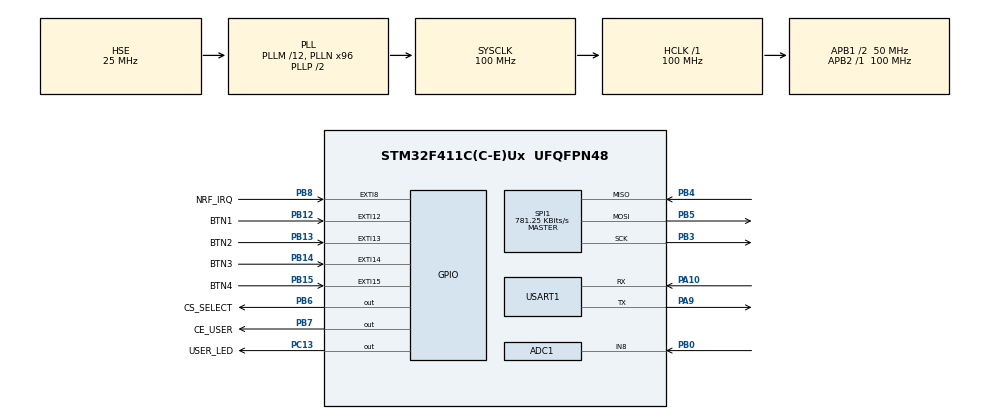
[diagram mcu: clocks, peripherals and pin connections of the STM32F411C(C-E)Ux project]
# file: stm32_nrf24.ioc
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ADC1.Channel-11\#ChannelRegularConversion=ADC_CHANNEL_8
ADC1.Channel-12\#ChannelRegularConversion=ADC_CHANNEL_TEMPSENSOR
ADC1.ContinuousConvMode=ENABLE
ADC1.DMAContinuousRequests=ENABLE
ADC1.NbrOfConversion=2
ADC1.NbrOfConversionFlag=1
ADC1.Rank-11\#ChannelRegularConversion=1
ADC1.Rank-12\#ChannelRegularConversion=2
ADC1.SamplingTime-11\#ChannelRegularConversion=ADC_SAMPLETIME_15CYCLES
ADC1.SamplingTime-12\#ChannelRegularConversion=ADC_SAMPLETIME_144CYCLES
ADC1.ScanConvMode=ENABLE
ADC1.master=1
Dma.ADC1.0.Direction=DMA_PERIPH_TO_MEMORY
Dma.ADC1.0.FIFOMode=DMA_FIFOMODE_DISABLE
Dma.ADC1.0.Instance=DMA2_Stream0
Dma.ADC1.0.MemDataAlignment=DMA_MDATAALIGN_HALFWORD
Dma.ADC1.0.MemInc=DMA_MINC_ENABLE
Dma.ADC1.0.Mode=DMA_CIRCULAR
Dma.ADC1.0.PeriphDataAlignment=DMA_PDATAALIGN_HALFWORD
Dma.ADC1.0.PeriphInc=DMA_PINC_DISABLE
Dma.ADC1.0.Priority=DMA_PRIORITY_LOW
Dma.Request0=ADC1
FREERTOS.Mutexes01=dataMutex,Dynamic,NULL,Available
FREERTOS.Queues01=change_permit,1,uint32_t,0,Dynamic,NULL,NULL
FREERTOS.Tasks01=defaultTask,24,128,StartDefaultTask,Default,NULL,Dynamic,NULL,NULL;SendDummy,22,128,send_dummy,Default,NULL,Dynamic,NULL,NULL;nrf24_receive,55,128,receive_poll,Default,NULL,Dynamic,NULL,NULL;pingSend,36,128,ping_send,Default,NULL,Dynamic,NULL,NULL;TemperatureLoad,8,128,fetch_temp,Default,NULL,Dynamic,NULL,NULL;TransmitCommand,50,128,start_transmit_cmd,Default,NULL,Dynamic,NULL,NULL;ErrorPollTask,10,128,start_error_poll,Default,NULL,Dynamic,NULL,NULL
FREERTOS.configENABLE_FPU=1
FREERTOS.configUSE_NEWLIB_REENTRANT=1
Mcu.Family=STM32F4
Mcu.Name=STM32F411C(C-E)Ux
Mcu.Package=UFQFPN48
NVIC.DMA2_Stream0_IRQn=true\:5\:0\:false\:false\:true\:true\:false\:true\:true
NVIC.EXTI15_10_IRQn=true\:5\:0\:false\:false\:true\:true\:true\:true\:true
NVIC.EXTI9_5_IRQn=true\:5\:0\:false\:false\:true\:true\:true\:true\:true
NVIC.PriorityGroup=NVIC_PRIORITYGROUP_4
NVIC.SPI1_IRQn=true\:5\:0\:false\:false\:true\:true\:true\:true\:true
NVIC.TIM2_IRQn=true\:15\:0\:false\:false\:true\:false\:false\:true\:true
NVIC.TimeBase=TIM2_IRQn
NVIC.TimeBaseIP=TIM2
NVIC.USART1_IRQn=true\:5\:0\:false\:false\:true\:true\:true\:true\:true
PA10.Mode=Asynchronous
PA10.Signal=USART1_RX
PA13.Mode=Serial_Wire
PA13.Signal=SYS_JTMS-SWDIO
PA14.Mode=Serial_Wire
PA14.Signal=SYS_JTCK-SWCLK
PA9.Mode=Asynchronous
PA9.Signal=USART1_TX
PB0.Signal=ADCx_IN8
PB12.GPIO_Label=BTN1
PB12.GPIO_ModeDefaultEXTI=GPIO_MODE_IT_FALLING
PB12.GPIO_PuPd=GPIO_PULLUP
PB12.Signal=GPXTI12
PB13.GPIO_Label=BTN2
PB13.GPIO_ModeDefaultEXTI=GPIO_MODE_IT_FALLING
PB13.GPIO_PuPd=GPIO_PULLUP
PB13.Signal=GPXTI13
PB14.GPIO_Label=BTN3
PB14.GPIO_ModeDefaultEXTI=GPIO_MODE_IT_FALLING
PB14.GPIO_PuPd=GPIO_PULLUP
PB14.Signal=GPXTI14
PB15.GPIO_Label=BTN4
PB15.GPIO_ModeDefaultEXTI=GPIO_MODE_IT_FALLING
PB15.GPIO_PuPd=GPIO_PULLUP
PB15.Signal=GPXTI15
PB3.Mode=Full_Duplex_Master
PB3.Signal=SPI1_SCK
PB4.Mode=Full_Duplex_Master
PB4.Signal=SPI1_MISO
PB5.Mode=Full_Duplex_Master
PB5.Signal=SPI1_MOSI
PB6.GPIO_Label=CS_SELECT
PB6.Signal=GPIO_Output
PB7.GPIO_Label=CE_USER
PB7.Signal=GPIO_Output
PB8.GPIO_Label=NRF_IRQ
PB8.Signal=GPXTI8
PC13-ANTI_TAMP.GPIO_Label=USER_LED
PC13-ANTI_TAMP.Signal=GPIO_Output
PH0\ -\ OSC_IN.Mode=HSE-External-Oscillator
PH0\ -\ OSC_IN.Signal=RCC_OSC_IN
PH1\ -\ OSC_OUT.Mode=HSE-External-Oscillator
PH1\ -\ OSC_OUT.Signal=RCC_OSC_OUT
ProjectManager.HeapSize=0x200
ProjectManager.StackSize=0x400
ProjectManager.TargetToolchain=STM32CubeIDE
RCC.48MHZClocksFreq_Value=50000000
RCC.AHBFreq_Value=100000000
RCC.APB1CLKDivider=RCC_HCLK_DIV2
RCC.APB1Freq_Value=50000000
RCC.APB1TimFreq_Value=100000000
RCC.APB2Freq_Value=100000000
RCC.APB2TimFreq_Value=100000000
RCC.CortexFreq_Value=100000000
RCC.HCLKFreq_Value=100000000
RCC.HSE_VALUE=25000000
RCC.HSI_VALUE=16000000
RCC.LSE_VALUE=32768
RCC.PLLM=12
RCC.PLLN=96
RCC.PLLSourceVirtual=RCC_PLLSOURCE_HSE
RCC.SYSCLKFreq_VALUE=100000000
RCC.SYSCLKSource=RCC_SYSCLKSOURCE_PLLCLK
RCC.VCOOutputFreq_Value=200000000
SH.ADCx_IN8.0=ADC1_IN8,IN8
SPI1.BaudRatePrescaler=SPI_BAUDRATEPRESCALER_128
SPI1.CalculateBaudRate=781.25 KBits/s
SPI1.Direction=SPI_DIRECTION_2LINES
SPI1.Mode=SPI_MODE_MASTER
SPI1.VirtualType=VM_MASTER
USART1.VirtualMode=VM_ASYNC
VP_ADC1_TempSens_Input.Mode=IN-TempSens
VP_FREERTOS_VS_CMSIS_V2.Mode=CMSIS_V2
VP_SYS_VS_tim2.Mode=TIM2
board=custom

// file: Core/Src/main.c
/* USER CODE BEGIN Header */
/**
  ******************************************************************************
  * @file           : main.c
  * @brief          : Main program body
  ******************************************************************************
  * @attention
  *
  * Copyright (c) 2025 STMicroelectronics.
  * All rights reserved.
  *
  * This software is licensed under terms that can be found in the LICENSE file
  * in the root directory of this software component.
  * If no LICENSE file comes with this software, it is provided AS-IS.
  *
  ******************************************************************************
  */
/* USER CODE END Header */
#include "main.h"
#include "cmsis_os.h"

/* USER CODE BEGIN Includes */
#include <string.h>
#include "NRF24.h"

#include "util/util.h"

#include "stdio.h"
#include "string.h"
#include "transmitter.h"
#include "ota.h"
#include "logger.h"
#include "adc.h"

#include "tasks/blinkled.h"
#include "tasks/txdummy.h"
#include "tasks/receive_poll.h"
#include "tasks/ping.h"
#include "tasks/tx_command.h"

#include "error/error.h"

#include "stddef.h"
/* USER CODE END Includes */

/* USER CODE BEGIN PD */

#define BTN1_PRESS		0x00
#define BTN2_PRESS		0x01
#define BTN3_PRESS		0x02
#define BTN4_PRESS		0x04

#define KERNEL_HAL		1
#define KERNEL_RTOS		2

#define BUTTON_DELAY_BOUND	300

#define CHANNEL 0x45
/* USER CODE END PD */

/* USER CODE BEGIN PM */
uint8_t KERNEL_MODE = KERNEL_HAL;
volatile uint8_t BUTTON_STATUS = 0;

uint8_t address[5] = { 0, 0, 0, 0, 1 };

volatile ADCValues_t adc;
/* USER CODE END PM */

ADC_HandleTypeDef hadc1;
DMA_HandleTypeDef hdma_adc1;

SPI_HandleTypeDef hspi1;

UART_HandleTypeDef huart1;

/* Definitions for defaultTask */
osThreadId_t defaultTaskHandle;
const osThreadAttr_t defaultTask_attributes = {
  .name = "defaultTask",
  .stack_size = 128 * 4,
  .priority = (osPriority_t) osPriorityNormal,
};
/* Definitions for SendDummy */
osThreadId_t SendDummyHandle;
const osThreadAttr_t SendDummy_attributes = {
  .name = "SendDummy",
  .stack_size = 128 * 4,
  .priority = (osPriority_t) osPriorityBelowNormal6,
};
/* Definitions for nrf24_receive */
osThreadId_t nrf24_receiveHandle;
const osThreadAttr_t nrf24_receive_attributes = {
  .name = "nrf24_receive",
  .stack_size = 128 * 4,
  .priority = (osPriority_t) osPriorityRealtime7,
};
/* Definitions for pingSend */
osThreadId_t pingSendHandle;
const osThreadAttr_t pingSend_attributes = {
  .name = "pingSend",
  .stack_size = 128 * 4,
  .priority = (osPriority_t) osPriorityAboveNormal4,
};
/* Definitions for TemperatureLoad */
osThreadId_t TemperatureLoadHandle;
const osThreadAttr_t TemperatureLoad_attributes = {
  .name = "TemperatureLoad",
  .stack_size = 128 * 4,
  .priority = (osPriority_t) osPriorityLow,
};
/* Definitions for TransmitCommand */
osThreadId_t TransmitCommandHandle;
const osThreadAttr_t TransmitCommand_attributes = {
  .name = "TransmitCommand",
  .stack_size = 128 * 4,
  .priority = (osPriority_t) osPriorityRealtime2,
};
/* Definitions for ErrorPollTask */
osThreadId_t ErrorPollTaskHandle;
const osThreadAttr_t ErrorPollTask_attributes = {
  .name = "ErrorPollTask",
  .stack_size = 128 * 4,
  .priority = (osPriority_t) osPriorityLow2,
};
/* Definitions for change_permit */
osMessageQueueId_t change_permitHandle;
const osMessageQueueAttr_t change_permit_attributes = {
  .name = "change_permit"
};
/* Definitions for dataMutex */
osMutexId_t dataMutexHandle;
const osMutexAttr_t dataMutex_attributes = {
  .name = "dataMutex"
};
/* USER CODE BEGIN PV */
extern uint32_t _ota_begin, _ota_end, _ota_loadaddr;
Dummy_t rxdata;
/* USER CODE END PV */

void SystemClock_Config(void);
static void MX_GPIO_Init(void);
static void MX_DMA_Init(void);
static void MX_SPI1_Init(void);
static void MX_USART1_UART_Init(void);
static void MX_ADC1_Init(void);
void StartDefaultTask(void *argument);
void send_dummy(void *argument);
void receive_poll(void *argument);
void ping_send(void *argument);
void fetch_temp(void *argument);
void start_transmit_cmd(void *argument);
void start_error_poll(void *argument);

int main(void)
{

  /* USER CODE BEGIN 1 */
	set_log_level(  LEVEL_INFO | LEVEL_ERROR  );
	copy_text();
	memset(  (  void*  )  &adc, 0, sizeof(  ADCValues_t  )  );
  /* USER CODE END 1 */

  /* MCU Configuration--------------------------------------------------------*/

  /* Reset of all peripherals, Initializes the Flash interface and the Systick. */
  HAL_Init();

  /* Configure the system clock */
  SystemClock_Config();

  /* Initialize all configured peripherals */
  MX_GPIO_Init();
  MX_DMA_Init();
  MX_SPI1_Init();
  MX_USART1_UART_Init();
  MX_ADC1_Init();
  /* USER CODE BEGIN 2 */

  HAL_GPIO_WritePin(  USER_LED_GPIO_Port, USER_LED_Pin, GPIO_PIN_SET  );

  HAL_ADC_Start_DMA(  &hadc1, (  uint32_t*  ) &adc , 2  );

  csn_high();
  HAL_Delay( 5 );
  ce_low();
  nrf24_init();

  nrf24_auto_ack_all( auto_ack );
  nrf24_en_ack_pld( enable );
  nrf24_en_dyn_ack( enable );
  nrf24_dpl( disable );

  nrf24_set_crc( no_crc, _1byte );

  nrf24_tx_pwr( n18dbm );
  nrf24_data_rate( _250kbps );
  nrf24_set_channel( CHANNEL );
  nrf24_set_addr_width( 5 );

  nrf24_set_rx_dpl( 0, disable );
  nrf24_set_rx_dpl( 1, disable );
  nrf24_set_rx_dpl( 2, disable );
  nrf24_set_rx_dpl( 3, disable );
  nrf24_set_rx_dpl( 4, disable );
  nrf24_set_rx_dpl( 5, disable );

  nrf24_pipe_pld_size( 0, 32 );

  nrf24_open_tx_pipe( address );
  nrf24_open_rx_pipe( 0, address );
  nrf24_stop_listen();

  ce_high();

  HAL_Delay( 5 );
  transmit_text(  "BLA BLA BLA BLA BLA BLA BLA BLA BLA BLA BLA BLA BLA BLA BLA"  );
  HAL_Delay( 1000 );

  Command_t cmd;
  memset( &cmd, 0, sizeof( cmd ) );
  cmd.type = PACKET_COMMAND;
  cmd.M1 = 2;
  cmd.M2 = 137;
  cmd.M3 = 3;
  cmd.M4 = 45;
  transmit( ( Dummy_t* ) &cmd );
  HAL_Delay( 1000 );

  Ping_t p;
  memset( &p, 0, 32 );
  p.type = PACKET_PING;
  transmit( ( Dummy_t* ) &p );

  KERNEL_MODE = KERNEL_RTOS;
  /* USER CODE END 2 */

  /* Init scheduler */
  osKernelInitialize();
  /* Create the mutex(es) */
  /* creation of dataMutex */
  dataMutexHandle = osMutexNew(&dataMutex_attributes);

  /* Create the queue(s) */
  /* creation of change_permit */
  change_permitHandle = osMessageQueueNew (1, sizeof(uint32_t), &change_permit_attributes);

  /* Create the thread(s) */
  /* creation of defaultTask */
  defaultTaskHandle = osThreadNew(StartDefaultTask, NULL, &defaultTask_attributes);

  /* creation of SendDummy */
  SendDummyHandle = osThreadNew(send_dummy, NULL, &SendDummy_attributes);

  /* creation of nrf24_receive */
  nrf24_receiveHandle = osThreadNew(receive_poll, NULL, &nrf24_receive_attributes);

  /* creation of pingSend */
  pingSendHandle = osThreadNew(ping_send, NULL, &pingSend_attributes);

  /* creation of TemperatureLoad */
  TemperatureLoadHandle = osThreadNew(fetch_temp, NULL, &TemperatureLoad_attributes);

  /* creation of TransmitCommand */
  TransmitCommandHandle = osThreadNew(start_transmit_cmd, NULL, &TransmitCommand_attributes);

  /* creation of ErrorPollTask */
  ErrorPollTaskHandle = osThreadNew(start_error_poll, NULL, &ErrorPollTask_attributes);

  /* Start scheduler */
  osKernelStart();

  /* We should never get here as control is now taken by the scheduler */

  /* Infinite loop */
  /* USER CODE BEGIN WHILE */
  while (  1  )
  {
    /* USER CODE END WHILE */

  }
}

void SystemClock_Config(void)
{
  RCC_OscInitTypeDef RCC_OscInitStruct = {0};
  RCC_ClkInitTypeDef RCC_ClkInitStruct = {0};

  /** Configure the main internal regulator output voltage
  */
  __HAL_RCC_PWR_CLK_ENABLE();
  __HAL_PWR_VOLTAGESCALING_CONFIG(PWR_REGULATOR_VOLTAGE_SCALE1);

  /** Initializes the RCC Oscillators according to the specified parameters
  * in the RCC_OscInitTypeDef structure.
  */
  RCC_OscInitStruct.OscillatorType = RCC_OSCILLATORTYPE_HSE;
  RCC_OscInitStruct.HSEState = RCC_HSE_ON;
  RCC_OscInitStruct.PLL.PLLState = RCC_PLL_ON;
  RCC_OscInitStruct.PLL.PLLSource = RCC_PLLSOURCE_HSE;
  RCC_OscInitStruct.PLL.PLLM = 12;
  RCC_OscInitStruct.PLL.PLLN = 96;
  RCC_OscInitStruct.PLL.PLLP = RCC_PLLP_DIV2;
  RCC_OscInitStruct.PLL.PLLQ = 4;
  if (HAL_RCC_OscConfig(&RCC_OscInitStruct) != HAL_OK)
  {
    Error_Handler();
  }

  /** Initializes the CPU, AHB and APB buses clocks
  */
  RCC_ClkInitStruct.ClockType = RCC_CLOCKTYPE_HCLK|RCC_CLOCKTYPE_SYSCLK
                              |RCC_CLOCKTYPE_PCLK1|RCC_CLOCKTYPE_PCLK2;
  RCC_ClkInitStruct.SYSCLKSource = RCC_SYSCLKSOURCE_PLLCLK;
  RCC_ClkInitStruct.AHBCLKDivider = RCC_SYSCLK_DIV1;
  RCC_ClkInitStruct.APB1CLKDivider = RCC_HCLK_DIV2;
  RCC_ClkInitStruct.APB2CLKDivider = RCC_HCLK_DIV1;

  if (HAL_RCC_ClockConfig(&RCC_ClkInitStruct, FLASH_LATENCY_3) != HAL_OK)
  {
    Error_Handler();
  }
}

static void MX_ADC1_Init(void)
{

  ADC_ChannelConfTypeDef sConfig = {0};

  /** Configure the global features of the ADC (Clock, Resolution, Data Alignment and number of conversion)
  */
  hadc1.Instance = ADC1;
  hadc1.Init.ClockPrescaler = ADC_CLOCK_SYNC_PCLK_DIV4;
  hadc1.Init.Resolution = ADC_RESOLUTION_12B;
  hadc1.Init.ScanConvMode = ENABLE;
  hadc1.Init.ContinuousConvMode = ENABLE;
  hadc1.Init.DiscontinuousConvMode = DISABLE;
  hadc1.Init.ExternalTrigConvEdge = ADC_EXTERNALTRIGCONVEDGE_NONE;
  hadc1.Init.ExternalTrigConv = ADC_SOFTWARE_START;
  hadc1.Init.DataAlign = ADC_DATAALIGN_RIGHT;
  hadc1.Init.NbrOfConversion = 2;
  hadc1.Init.DMAContinuousRequests = ENABLE;
  hadc1.Init.EOCSelection = ADC_EOC_SINGLE_CONV;
  if (HAL_ADC_Init(&hadc1) != HAL_OK)
  {
    Error_Handler();
  }

  /** Configure for the selected ADC regular channel its corresponding rank in the sequencer and its sample time.
  */
  sConfig.Channel = ADC_CHANNEL_8;
  sConfig.Rank = 1;
  sConfig.SamplingTime = ADC_SAMPLETIME_15CYCLES;
  if (HAL_ADC_ConfigChannel(&hadc1, &sConfig) != HAL_OK)
  {
    Error_Handler();
  }

  /** Configure for the selected ADC regular channel its corresponding rank in the sequencer and its sample time.
  */
  sConfig.Channel = ADC_CHANNEL_TEMPSENSOR;
  sConfig.Rank = 2;
  sConfig.SamplingTime = ADC_SAMPLETIME_144CYCLES;
  if (HAL_ADC_ConfigChannel(&hadc1, &sConfig) != HAL_OK)
  {
    Error_Handler();
  }

}

static void MX_SPI1_Init(void)
{

  /* SPI1 parameter configuration*/
  hspi1.Instance = SPI1;
  hspi1.Init.Mode = SPI_MODE_MASTER;
  hspi1.Init.Direction = SPI_DIRECTION_2LINES;
  hspi1.Init.DataSize = SPI_DATASIZE_8BIT;
  hspi1.Init.CLKPolarity = SPI_POLARITY_LOW;
  hspi1.Init.CLKPhase = SPI_PHASE_1EDGE;
  hspi1.Init.NSS = SPI_NSS_SOFT;
  hspi1.Init.BaudRatePrescaler = SPI_BAUDRATEPRESCALER_128;
  hspi1.Init.FirstBit = SPI_FIRSTBIT_MSB;
  hspi1.Init.TIMode = SPI_TIMODE_DISABLE;
  hspi1.Init.CRCCalculation = SPI_CRCCALCULATION_DISABLE;
  hspi1.Init.CRCPolynomial = 10;
  if (HAL_SPI_Init(&hspi1) != HAL_OK)
  {
    Error_Handler();
  }

}

static void MX_USART1_UART_Init(void)
{

  huart1.Instance = USART1;
  huart1.Init.BaudRate = 115200;
  huart1.Init.WordLength = UART_WORDLENGTH_8B;
  huart1.Init.StopBits = UART_STOPBITS_1;
  huart1.Init.Parity = UART_PARITY_NONE;
  huart1.Init.Mode = UART_MODE_TX_RX;
  huart1.Init.HwFlowCtl = UART_HWCONTROL_NONE;
  huart1.Init.OverSampling = UART_OVERSAMPLING_16;
  if (HAL_UART_Init(&huart1) != HAL_OK)
  {
    Error_Handler();
  }

}

static void MX_DMA_Init(void)
{

  /* DMA controller clock enable */
  __HAL_RCC_DMA2_CLK_ENABLE();

  /* DMA interrupt init */
  /* DMA2_Stream0_IRQn interrupt configuration */
  HAL_NVIC_SetPriority(DMA2_Stream0_IRQn, 5, 0);
  HAL_NVIC_EnableIRQ(DMA2_Stream0_IRQn);

}

static void MX_GPIO_Init(void)
{
  GPIO_InitTypeDef GPIO_InitStruct = {0};

  /* GPIO Ports Clock Enable */
  __HAL_RCC_GPIOC_CLK_ENABLE();
  __HAL_RCC_GPIOH_CLK_ENABLE();
  __HAL_RCC_GPIOB_CLK_ENABLE();
  __HAL_RCC_GPIOA_CLK_ENABLE();

  /*Configure GPIO pin Output Level */
  HAL_GPIO_WritePin(USER_LED_GPIO_Port, USER_LED_Pin, GPIO_PIN_RESET);

  /*Configure GPIO pin Output Level */
  HAL_GPIO_WritePin(GPIOB, CS_SELECT_Pin|CE_USER_Pin, GPIO_PIN_RESET);

  /*Configure GPIO pin : USER_LED_Pin */
  GPIO_InitStruct.Pin = USER_LED_Pin;
  GPIO_InitStruct.Mode = GPIO_MODE_OUTPUT_PP;
  GPIO_InitStruct.Pull = GPIO_NOPULL;
  GPIO_InitStruct.Speed = GPIO_SPEED_FREQ_LOW;
  HAL_GPIO_Init(USER_LED_GPIO_Port, &GPIO_InitStruct);

  /*Configure GPIO pins : BTN1_Pin BTN2_Pin BTN3_Pin BTN4_Pin */
  GPIO_InitStruct.Pin = BTN1_Pin|BTN2_Pin|BTN3_Pin|BTN4_Pin;
  GPIO_InitStruct.Mode = GPIO_MODE_IT_FALLING;
  GPIO_InitStruct.Pull = GPIO_PULLUP;
  HAL_GPIO_Init(GPIOB, &GPIO_InitStruct);

  /*Configure GPIO pins : CS_SELECT_Pin CE_USER_Pin */
  GPIO_InitStruct.Pin = CS_SELECT_Pin|CE_USER_Pin;
  GPIO_InitStruct.Mode = GPIO_MODE_OUTPUT_PP;
  GPIO_InitStruct.Pull = GPIO_NOPULL;
  GPIO_InitStruct.Speed = GPIO_SPEED_FREQ_LOW;
  HAL_GPIO_Init(GPIOB, &GPIO_InitStruct);

  /*Configure GPIO pin : NRF_IRQ_Pin */
  GPIO_InitStruct.Pin = NRF_IRQ_Pin;
  GPIO_InitStruct.Mode = GPIO_MODE_IT_RISING;
  GPIO_InitStruct.Pull = GPIO_NOPULL;
  HAL_GPIO_Init(NRF_IRQ_GPIO_Port, &GPIO_InitStruct);

  /* EXTI interrupt init*/
  HAL_NVIC_SetPriority(EXTI9_5_IRQn, 5, 0);
  HAL_NVIC_EnableIRQ(EXTI9_5_IRQn);

  HAL_NVIC_SetPriority(EXTI15_10_IRQn, 5, 0);
  HAL_NVIC_EnableIRQ(EXTI15_10_IRQn);

}

/* USER CODE BEGIN 4 */
int _write(int file, char *ptr, int len)
{
	HAL_UART_Transmit(&huart1, (uint8_t*) ptr, len, 100);
	return len;
}

//	if(  GPIO_Pin  ==  BTN1_Pin  &&  HAL_GPIO_ReadPin(  BTN1_GPIO_Port, BTN1_Pin  )  ==  GPIO_PIN_RESET  &&  (  osKernelGetTickCount() - btn1_tick  >  BUTTON_DELAY_BOUND  )  ) {

void ota_init(void) {
	uint32_t* src =	&_ota_loadaddr;
	uint32_t* dst = &_ota_begin;
	while(dst < &_ota_end) {
		*dst++ = *src++;
	}
}

volatile uint32_t btn1_tick = 0;
volatile uint32_t btn2_tick = 0;
volatile uint32_t btn3_tick = 0;
volatile uint32_t btn4_tick = 0;

void HAL_GPIO_EXTI_Callback(  uint16_t GPIO_Pin  ) {

	if(  GPIO_Pin  ==  BTN1_Pin  &&  HAL_GPIO_ReadPin(  BTN1_GPIO_Port, BTN1_Pin  )  ==  GPIO_PIN_RESET  &&  (  osKernelGetTickCount()  -  btn1_tick  >  BUTTON_DELAY_BOUND  )  ) {
		//do BTN1 action

		asm volatile(  "nop"  );
		BUTTON_STATUS |= (  1 << BTN1_PRESS  );
		btn1_tick = osKernelGetTickCount();
	}

	if(  GPIO_Pin  == BTN2_Pin  &&  HAL_GPIO_ReadPin(  BTN2_GPIO_Port, BTN2_Pin  )  ==  GPIO_PIN_RESET  &&  (  osKernelGetTickCount()  -  btn2_tick  >  BUTTON_DELAY_BOUND  )  ) {
		//do BTN2 action

		asm volatile(  "nop"  );
		BUTTON_STATUS |= (  1 << BTN2_PRESS  );
		btn2_tick = osKernelGetTickCount();
	}

	if(  GPIO_Pin  == BTN3_Pin  &&  HAL_GPIO_ReadPin(  BTN3_GPIO_Port, BTN3_Pin  )  ==  GPIO_PIN_RESET  &&  (  osKernelGetTickCount()  -  btn3_tick  >  BUTTON_DELAY_BOUND  )  ) {
		//do BTN3 action

		asm volatile(  "nop"  );
		BUTTON_STATUS |= (  1 << BTN3_PRESS  );
		btn3_tick = osKernelGetTickCount();
	}

	if(  GPIO_Pin  == BTN4_Pin  &&  HAL_GPIO_ReadPin(  BTN4_GPIO_Port, BTN4_Pin  )  ==  GPIO_PIN_RESET  &&  (  osKernelGetTickCount()  -  btn4_tick  >  BUTTON_DELAY_BOUND  )  ) {
		//do BTN4 action

		asm volatile(  "nop"  );
		BUTTON_STATUS |= (  1 << BTN4_PRESS  );
		btn4_tick = osKernelGetTickCount();
	}

}

/* USER CODE END 4 */

void StartDefaultTask(void *argument)
{
  /* USER CODE BEGIN 5 */
	while(  1  ) {

		osDelay(  1  );

	}
  /* USER CODE END 5 */
}

void send_dummy(void *argument)
{
  /* USER CODE BEGIN send_dummy */
	vTaskSuspend(  NULL  );
	transmit_dummy();
  /* USER CODE END send_dummy */
}

void receive_poll(void *argument)
{
  /* USER CODE BEGIN receive_poll */
	vTaskSuspend(  NULL  );
	rx_poll(  (  Dummy_t*  )  &rxdata  );
  /* USER CODE END receive_poll */
}

void ping_send(void *argument)
{
  /* USER CODE BEGIN ping_send */
//	vTaskSuspend(  NULL  );
  transmit_ping();
  /* USER CODE END ping_send */
}

void fetch_temp(void *argument)
{
  /* USER CODE BEGIN fetch_temp */
  /* Infinite loop */
  for(  ;;  )
  {

	  u32 val = adc.temp;

	  float temp = (  (  float  ) val /  (  float  )  4095  ) * 3.3f;
	  temp = (  (  temp - 0.76f  ) / 0.0025f  ) + 25.0f;

	  printf(  "Temp: %d\r\n",  (  int  )  temp  );

	  osDelay(  2000  );

  }
  /* USER CODE END fetch_temp */
}

void start_transmit_cmd(void *argument)
{
  /* USER CODE BEGIN start_transmit_cmd */
  txcommand_poll();
  /* USER CODE END start_transmit_cmd */
}

void start_error_poll(void *argument)
{
  /* USER CODE BEGIN start_error_poll */
	error_poll();
  /* USER CODE END start_error_poll */
}

void HAL_TIM_PeriodElapsedCallback(TIM_HandleTypeDef *htim)
{
  if (htim->Instance == TIM2)
  {
    HAL_IncTick();
  }
}

void Error_Handler(void)
{
  __disable_irq();
  while (1)
  {
  }
}
